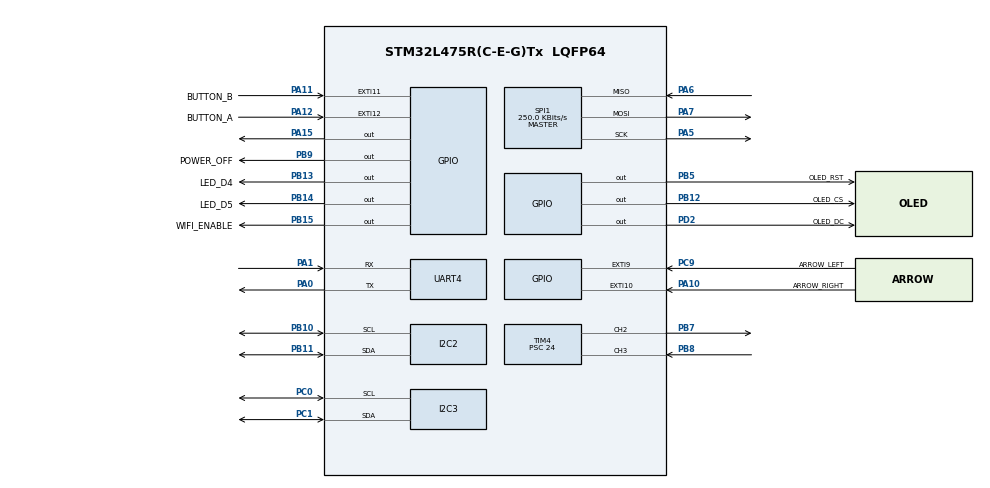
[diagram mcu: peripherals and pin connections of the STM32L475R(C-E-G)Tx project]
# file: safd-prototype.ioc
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Mcu.Family=STM32L4
Mcu.Name=STM32L475R(C-E-G)Tx
Mcu.Package=LQFP64
NVIC.EXTI15_10_IRQn=true\:0\:0\:false\:false\:true\:true
NVIC.EXTI9_5_IRQn=true\:0\:0\:false\:false\:true\:true
NVIC.PriorityGroup=NVIC_PRIORITYGROUP_4
NVIC.TIM3_IRQn=true\:0\:0\:false\:false\:true\:true
NVIC.UART4_IRQn=true\:0\:0\:false\:false\:true\:true
PA0.Mode=Asynchronous
PA0.Signal=UART4_TX
PA1.Mode=Asynchronous
PA1.Signal=UART4_RX
PA10.GPIO_Label=ARROW_RIGHT
PA10.Signal=GPXTI10
PA11.GPIO_Label=BUTTON_B
PA11.Signal=GPXTI11
PA12.GPIO_Label=BUTTON_A
PA12.Signal=GPXTI12
PA15\ (JTDI).Signal=GPIO_Output
PA5.Mode=Full_Duplex_Master
PA5.Signal=SPI1_SCK
PA6.Mode=Full_Duplex_Master
PA6.Signal=SPI1_MISO
PA7.Mode=Full_Duplex_Master
PA7.Signal=SPI1_MOSI
PB10.Mode=I2C
PB10.Signal=I2C2_SCL
PB11.Mode=I2C
PB11.Signal=I2C2_SDA
PB12.GPIO_Label=OLED_CS
PB12.Signal=GPIO_Output
PB13.GPIO_Label=LED_D4
PB13.Signal=GPIO_Output
PB14.GPIO_Label=LED_D5
PB14.Signal=GPIO_Output
PB15.GPIO_Label=WIFI_ENABLE
PB15.Signal=GPIO_Output
PB5.GPIO_Label=OLED_RST
PB5.Signal=GPIO_Output
PB7.Signal=S_TIM4_CH2
PB8.Signal=S_TIM4_CH3
PB9.GPIO_Label=POWER_OFF
PB9.Signal=GPIO_Output
PC0.Mode=I2C
PC0.Signal=I2C3_SCL
PC1.Mode=I2C
PC1.Signal=I2C3_SDA
PC9.GPIO_Label=ARROW_LEFT
PC9.Signal=GPXTI9
PD2.GPIO_Label=OLED_DC
PD2.Signal=GPIO_Output
ProjectManager.HeapSize=0x200
ProjectManager.StackSize=0x400
ProjectManager.TargetToolchain=SW4STM32
RCC.HSE_VALUE=8000000
RCC.HSI_VALUE=16000000
RCC.LSE_VALUE=32768
RCC.MSI_VALUE=4000000
RCC.VCOOutputFreq_Value=32000000
SH.S_TIM4_CH2.0=TIM4_CH2,PWM Generation2 CH2
SH.S_TIM4_CH3.0=TIM4_CH3,Input_Capture3_from_TI3
SPI1.BaudRatePrescaler=SPI_BAUDRATEPRESCALER_16
SPI1.CalculateBaudRate=250.0 KBits/s
SPI1.DataSize=SPI_DATASIZE_8BIT
SPI1.Direction=SPI_DIRECTION_2LINES
SPI1.Mode=SPI_MODE_MASTER
SPI1.VirtualType=VM_MASTER
TIM3.Period=47
TIM3.Prescaler=999
TIM4.Channel-Input_Capture3_from_TI3=TIM_CHANNEL_3
TIM4.Channel-PWM\ Generation2\ CH2=TIM_CHANNEL_2
TIM4.Period=200
TIM4.Prescaler=24
TIM4.Pulse-PWM\ Generation2\ CH2=3
UART4.WordLength=WORDLENGTH_8B
VP_TIM3_VS_ClockSourceINT.Mode=Internal
board=safd-prototype

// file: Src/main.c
/**
  ******************************************************************************
  * File Name          : main.c
  * Description        : Main program body
  ******************************************************************************
  ** This notice applies to any and all portions of this file
  * that are not between comment pairs USER CODE BEGIN and
  * USER CODE END. Other portions of this file, whether
  * inserted by the user or by software development tools
  * are owned by their respective copyright owners.
  *
  * COPYRIGHT(c) 2017 STMicroelectronics
  *
  * Redistribution and use in source and binary forms, with or without modification,
  * are permitted provided that the following conditions are met:
  *   1. Redistributions of source code must retain the above copyright notice,
  *      this list of conditions and the following disclaimer.
  *   2. Redistributions in binary form must reproduce the above copyright notice,
  *      this list of conditions and the following disclaimer in the documentation
  *      and/or other materials provided with the distribution.
  *   3. Neither the name of STMicroelectronics nor the names of its contributors
  *      may be used to endorse or promote products derived from this software
  *      without specific prior written permission.
  *
  * THIS SOFTWARE IS PROVIDED BY THE COPYRIGHT HOLDERS AND CONTRIBUTORS "AS IS"
  * AND ANY EXPRESS OR IMPLIED WARRANTIES, INCLUDING, BUT NOT LIMITED TO, THE
  * IMPLIED WARRANTIES OF MERCHANTABILITY AND FITNESS FOR A PARTICULAR PURPOSE ARE
  * DISCLAIMED. IN NO EVENT SHALL THE COPYRIGHT HOLDER OR CONTRIBUTORS BE LIABLE
  * FOR ANY DIRECT, INDIRECT, INCIDENTAL, SPECIAL, EXEMPLARY, OR CONSEQUENTIAL
  * DAMAGES (INCLUDING, BUT NOT LIMITED TO, PROCUREMENT OF SUBSTITUTE GOODS OR
  * SERVICES; LOSS OF USE, DATA, OR PROFITS; OR BUSINESS INTERRUPTION) HOWEVER
  * CAUSED AND ON ANY THEORY OF LIABILITY, WHETHER IN CONTRACT, STRICT LIABILITY,
  * OR TORT (INCLUDING NEGLIGENCE OR OTHERWISE) ARISING IN ANY WAY OUT OF THE USE
  * OF THIS SOFTWARE, EVEN IF ADVISED OF THE POSSIBILITY OF SUCH DAMAGE.
  *
  ******************************************************************************
  */

#include "main.h"
#include "stm32l4xx_hal.h"

/* USER CODE BEGIN Includes */
#include "ssd1306.h"
#include "ds2782.h"
#include "font7x10.h"
#include <string.h>
#include "beeper.h"

#include "lsm6ds3.h"
#include "buffer.h"
#include "fall_detection.h"
#include "util.h"
#include "user_interface.h"
#include "max17043.h"
//https://github.com/vadzimyatskevich/STM32F103_SSD1306 << OLED lib

/* USER CODE END Includes */

I2C_HandleTypeDef hi2c2;
I2C_HandleTypeDef hi2c3;

SPI_HandleTypeDef hspi1;

TIM_HandleTypeDef htim3;
TIM_HandleTypeDef htim4;

UART_HandleTypeDef huart4;

/* USER CODE BEGIN PV */
/* Private variables ---------------------------------------------------------*/
uint8_t rx_buffer[10];

triple_ring_buffer linear_acceleration_buffer; //
triple_ring_buffer angular_velocity_buffer_sternum;  //
triple_ring_buffer angular_velocity_buffer_waist;  //

triplet angle_i;
triplet angular_velocity_i; //Might not need this if we don't use angular acceleration

frame frame_lookup[10];
uint8_t arm_status;//arm = 1 unarmed = 0
uint8_t arrow_left_pressed;
uint8_t arrow_right_pressed;
uint8_t button_a_pressed;
uint8_t button_b_pressed;
extern int current_frame_index;
extern frame frame_lookup[10];
extern ARM_Status arm_flag;

float batt_voltage;
int batt_percentage;

/* USER CODE END PV */

void SystemClock_Config(void);
static void MX_GPIO_Init(void);
static void MX_TIM3_Init(void);
static void MX_SPI1_Init(void);
static void MX_I2C3_Init(void);
static void MX_UART4_Init(void);
static void MX_I2C2_Init(void);
static void MX_TIM4_Init(void);

void HAL_TIM_MspPostInit(TIM_HandleTypeDef *htim);

/* USER CODE BEGIN PFP */
/* Private function prototypes -----------------------------------------------*/

/* USER CODE END PFP */

int main(void)
{

  /* MCU Configuration----------------------------------------------------------*/

  /* Reset of all peripherals, Initializes the Flash interface and the Systick. */
  HAL_Init();

  /* Configure the system clock */
  SystemClock_Config();

  /* Initialize all configured peripherals */
  MX_GPIO_Init();
  MX_TIM3_Init();
  MX_SPI1_Init();
  MX_I2C3_Init();
  MX_UART4_Init();
  MX_I2C2_Init();
  MX_TIM4_Init();

  /* USER CODE BEGIN 2 */
  /*UI Init*/
  SSD1306_Init();
  init_userinterface();
  batt_percentage = getSOC(&hi2c2);

  /*Fall detection Init*/
  triplet gyro_reading1;
  triplet gyro_reading2;
  angular_velocity_i.x = 0;
  angular_velocity_i.y = 0;
  angular_velocity_i.z = 0;

  volatile int detection_result_waist=0;
  volatile int detection_result_sternum=0;

  arm_flag = SYSTEM_UNARMED;

  LSM6DS3_StatusTypedef gyro1_init_status,gyro2_init_status;

  //sensor 2 = onboard sensor 1 = external
  gyro1_init_status = init_gyroscope(&hi2c3,SENSOR_1,dps_250,rate416hz);
  gyro2_init_status = init_gyroscope(&hi2c3,SENSOR_2,dps_250,rate416hz);

  if(gyro1_init_status != LSM6DS3_OK)
  {
	  SSD1306_Flush();

	  SSD1306_Orientation(LCD_ORIENT_180);

	  SSD1306_Contrast(127);
	  SSD1306_Fill(0x00);
	  LCD_PutStr(0,23,"Sensor(s)",fnt7x10);
	  LCD_PutStr(0,scr_height - 15,"not found!",fnt7x10);
	  SSD1306_Flush();
	  _Error_Handler(__FILE__, __LINE__);
  }

  if(gyro2_init_status != LSM6DS3_OK)
  {
	  SSD1306_Flush();

	  SSD1306_Orientation(LCD_ORIENT_180);

	  SSD1306_Contrast(127);
	  SSD1306_Fill(0x00);
	  LCD_PutStr(0,23,"Sensor(s)",fnt7x10);
	  LCD_PutStr(0,scr_height - 15,"not found!",fnt7x10);
	  SSD1306_Flush();
	  _Error_Handler(__FILE__, __LINE__);
  }

  //this has to be the very last thing
  HAL_TIM_Base_Start_IT(&htim3);
  HAL_TIM_Base_Start_IT(&htim4);
  //HAL_TIM_PWM_Start(&htim4, TIM_CHANNEL_2);
  HAL_TIM_IC_Start(&htim4, TIM_CHANNEL_3);
  /* USER CODE END 2 */

  /* Infinite loop */
  while (1)
  {

  /* USER CODE BEGIN 3 */
	  /*UI nav*/
	  if(arrow_left_pressed == 1)
	  {
		  to_prev();
		  arrow_left_pressed = 0;
		  HAL_TIM_PeriodBeeper(&htim4,2);

	  }
	  if(arrow_right_pressed == 1)
	  {
		  to_next();
		  arrow_right_pressed = 0;
		  HAL_TIM_PeriodBeeper(&htim4,2);

	  }
	  if(button_a_pressed == 1)
	  {
		  frame_lookup[current_frame_index].a_action();
		  button_a_pressed = 0;
		  HAL_TIM_PeriodBeeper(&htim4,2);

	  }
	  if(button_b_pressed == 1)
	  {
		  frame_lookup[current_frame_index].b_action();
		  button_b_pressed = 0;
		  HAL_TIM_PeriodBeeper(&htim4,2);
	  }

	  /*active poll*/
	  if(arm_flag == SYSTEM_ARMED)
	  {
		  if(peek(&angular_velocity_buffer_sternum) == BUFFER_AVAILABLE && peek(&angular_velocity_buffer_waist) == BUFFER_AVAILABLE)
		  {
			  fetch(&angular_velocity_buffer_sternum, &gyro_reading1);
			  fetch(&angular_velocity_buffer_waist, &gyro_reading2);

			  detection_result_sternum = detection_angular_velocity_sternum(gyro_reading1);
			  detection_result_waist = detection_angular_velocity_waist(gyro_reading2);
	  		  if(detection_result_sternum == EXCEED)
	  		  {
	  			  HAL_GPIO_WritePin(LED_D4_PORT, LED_D4_PIN, GPIO_PIN_SET);
	  		  }
	  		  if(detection_result_waist == EXCEED)
	  		  {
	  			  HAL_GPIO_WritePin(LED_D5_PORT, LED_D5_PIN, GPIO_PIN_SET);
	  		  }
	  		  if(detection_result_waist == EXCEED && detection_result_sternum == EXCEED)
	  		  {
				  HAL_GPIO_WritePin(GPIOB,GPIO_PIN_13,GPIO_PIN_SET);
				  HAL_GPIO_WritePin(GPIOA, GPIO_PIN_15,GPIO_PIN_SET);
				  HAL_Delay(2000);
				  HAL_GPIO_WritePin(GPIOA, GPIO_PIN_15,GPIO_PIN_RESET);
				  HAL_GPIO_WritePin(GPIOB,GPIO_PIN_13,GPIO_PIN_RESET);
				  /*
	  			  HAL_TIM_PWM_Start(&htim4, TIM_CHANNEL_2);
	  			  HAL_Delay(3000);
	  			  HAL_TIM_PWM_Stop(&htim4, TIM_CHANNEL_2);
				  */

	  		  }
/*
			  if(detection_result_sternum == EXCEED && detection_result_waist == EXCEED)
			  {
				  HAL_GPIO_WritePin(GPIOB,GPIO_PIN_13,GPIO_PIN_SET);
				  HAL_GPIO_WritePin(GPIOA, GPIO_PIN_15,GPIO_PIN_SET);
				  HAL_Delay(2000);
				  HAL_GPIO_WritePin(GPIOA, GPIO_PIN_15,GPIO_PIN_RESET);
				  HAL_GPIO_WritePin(GPIOB,GPIO_PIN_13,GPIO_PIN_RESET);

			  }
			  */
			  //decide what to do if detected?
		  }
	  }
	  if(batt_percentage <= 20){
		  HAL_TIM_PeriodBeeper(&htim4,4);
	  }

  }
  /* USER CODE END 3 */

}

/** System Clock Configuration
*/
void SystemClock_Config(void)
{

  RCC_OscInitTypeDef RCC_OscInitStruct;
  RCC_ClkInitTypeDef RCC_ClkInitStruct;
  RCC_PeriphCLKInitTypeDef PeriphClkInit;

    /**Initializes the CPU, AHB and APB busses clocks
    */
  RCC_OscInitStruct.OscillatorType = RCC_OSCILLATORTYPE_MSI;
  RCC_OscInitStruct.MSIState = RCC_MSI_ON;
  RCC_OscInitStruct.MSICalibrationValue = 0;
  RCC_OscInitStruct.MSIClockRange = RCC_MSIRANGE_6;
  RCC_OscInitStruct.PLL.PLLState = RCC_PLL_NONE;
  if (HAL_RCC_OscConfig(&RCC_OscInitStruct) != HAL_OK)
  {
    _Error_Handler(__FILE__, __LINE__);
  }

    /**Initializes the CPU, AHB and APB busses clocks
    */
  RCC_ClkInitStruct.ClockType = RCC_CLOCKTYPE_HCLK|RCC_CLOCKTYPE_SYSCLK
                              |RCC_CLOCKTYPE_PCLK1|RCC_CLOCKTYPE_PCLK2;
  RCC_ClkInitStruct.SYSCLKSource = RCC_SYSCLKSOURCE_MSI;
  RCC_ClkInitStruct.AHBCLKDivider = RCC_SYSCLK_DIV1;
  RCC_ClkInitStruct.APB1CLKDivider = RCC_HCLK_DIV1;
  RCC_ClkInitStruct.APB2CLKDivider = RCC_HCLK_DIV1;

  if (HAL_RCC_ClockConfig(&RCC_ClkInitStruct, FLASH_LATENCY_0) != HAL_OK)
  {
    _Error_Handler(__FILE__, __LINE__);
  }

  PeriphClkInit.PeriphClockSelection = RCC_PERIPHCLK_UART4|RCC_PERIPHCLK_I2C2
                              |RCC_PERIPHCLK_I2C3;
  PeriphClkInit.Uart4ClockSelection = RCC_UART4CLKSOURCE_PCLK1;
  PeriphClkInit.I2c2ClockSelection = RCC_I2C2CLKSOURCE_PCLK1;
  PeriphClkInit.I2c3ClockSelection = RCC_I2C3CLKSOURCE_PCLK1;
  if (HAL_RCCEx_PeriphCLKConfig(&PeriphClkInit) != HAL_OK)
  {
    _Error_Handler(__FILE__, __LINE__);
  }

    /**Configure the main internal regulator output voltage
    */
  if (HAL_PWREx_ControlVoltageScaling(PWR_REGULATOR_VOLTAGE_SCALE1) != HAL_OK)
  {
    _Error_Handler(__FILE__, __LINE__);
  }

    /**Configure the Systick interrupt time
    */
  HAL_SYSTICK_Config(HAL_RCC_GetHCLKFreq()/1000);

    /**Configure the Systick
    */
  HAL_SYSTICK_CLKSourceConfig(SYSTICK_CLKSOURCE_HCLK);

  /* SysTick_IRQn interrupt configuration */
  HAL_NVIC_SetPriority(SysTick_IRQn, 0, 0);
}

/* I2C2 init function */
static void MX_I2C2_Init(void)
{

  hi2c2.Instance = I2C2;
  hi2c2.Init.Timing = 0x00000E14;
  hi2c2.Init.OwnAddress1 = 0;
  hi2c2.Init.AddressingMode = I2C_ADDRESSINGMODE_7BIT;
  hi2c2.Init.DualAddressMode = I2C_DUALADDRESS_DISABLE;
  hi2c2.Init.OwnAddress2 = 0;
  hi2c2.Init.OwnAddress2Masks = I2C_OA2_NOMASK;
  hi2c2.Init.GeneralCallMode = I2C_GENERALCALL_DISABLE;
  hi2c2.Init.NoStretchMode = I2C_NOSTRETCH_DISABLE;
  if (HAL_I2C_Init(&hi2c2) != HAL_OK)
  {
    _Error_Handler(__FILE__, __LINE__);
  }

    /**Configure Analogue filter
    */
  if (HAL_I2CEx_ConfigAnalogFilter(&hi2c2, I2C_ANALOGFILTER_ENABLE) != HAL_OK)
  {
    _Error_Handler(__FILE__, __LINE__);
  }

    /**Configure Digital filter
    */
  if (HAL_I2CEx_ConfigDigitalFilter(&hi2c2, 0) != HAL_OK)
  {
    _Error_Handler(__FILE__, __LINE__);
  }

}

/* I2C3 init function */
static void MX_I2C3_Init(void)
{

  hi2c3.Instance = I2C3;
  hi2c3.Init.Timing = 0x00000E14;
  hi2c3.Init.OwnAddress1 = 0;
  hi2c3.Init.AddressingMode = I2C_ADDRESSINGMODE_7BIT;
  hi2c3.Init.DualAddressMode = I2C_DUALADDRESS_DISABLE;
  hi2c3.Init.OwnAddress2 = 0;
  hi2c3.Init.OwnAddress2Masks = I2C_OA2_NOMASK;
  hi2c3.Init.GeneralCallMode = I2C_GENERALCALL_DISABLE;
  hi2c3.Init.NoStretchMode = I2C_NOSTRETCH_DISABLE;
  if (HAL_I2C_Init(&hi2c3) != HAL_OK)
  {
    _Error_Handler(__FILE__, __LINE__);
  }

    /**Configure Analogue filter
    */
  if (HAL_I2CEx_ConfigAnalogFilter(&hi2c3, I2C_ANALOGFILTER_ENABLE) != HAL_OK)
  {
    _Error_Handler(__FILE__, __LINE__);
  }

    /**Configure Digital filter
    */
  if (HAL_I2CEx_ConfigDigitalFilter(&hi2c3, 0) != HAL_OK)
  {
    _Error_Handler(__FILE__, __LINE__);
  }

}

/* SPI1 init function */
static void MX_SPI1_Init(void)
{

  /* SPI1 parameter configuration*/
  hspi1.Instance = SPI1;
  hspi1.Init.Mode = SPI_MODE_MASTER;
  hspi1.Init.Direction = SPI_DIRECTION_2LINES;
  hspi1.Init.DataSize = SPI_DATASIZE_8BIT;
  hspi1.Init.CLKPolarity = SPI_POLARITY_LOW;
  hspi1.Init.CLKPhase = SPI_PHASE_1EDGE;
  hspi1.Init.NSS = SPI_NSS_SOFT;
  hspi1.Init.BaudRatePrescaler = SPI_BAUDRATEPRESCALER_16;
  hspi1.Init.FirstBit = SPI_FIRSTBIT_MSB;
  hspi1.Init.TIMode = SPI_TIMODE_DISABLE;
  hspi1.Init.CRCCalculation = SPI_CRCCALCULATION_DISABLE;
  hspi1.Init.CRCPolynomial = 7;
  hspi1.Init.CRCLength = SPI_CRC_LENGTH_DATASIZE;
  hspi1.Init.NSSPMode = SPI_NSS_PULSE_ENABLE;
  if (HAL_SPI_Init(&hspi1) != HAL_OK)
  {
    _Error_Handler(__FILE__, __LINE__);
  }

}

/* TIM3 init function */
static void MX_TIM3_Init(void)
{

  TIM_ClockConfigTypeDef sClockSourceConfig;
  TIM_MasterConfigTypeDef sMasterConfig;

  htim3.Instance = TIM3;
  htim3.Init.Prescaler = 999;
  htim3.Init.CounterMode = TIM_COUNTERMODE_UP;
  htim3.Init.Period = 47;
  htim3.Init.ClockDivision = TIM_CLOCKDIVISION_DIV1;
  htim3.Init.AutoReloadPreload = TIM_AUTORELOAD_PRELOAD_DISABLE;
  if (HAL_TIM_Base_Init(&htim3) != HAL_OK)
  {
    _Error_Handler(__FILE__, __LINE__);
  }

  sClockSourceConfig.ClockSource = TIM_CLOCKSOURCE_INTERNAL;
  if (HAL_TIM_ConfigClockSource(&htim3, &sClockSourceConfig) != HAL_OK)
  {
    _Error_Handler(__FILE__, __LINE__);
  }

  sMasterConfig.MasterOutputTrigger = TIM_TRGO_RESET;
  sMasterConfig.MasterSlaveMode = TIM_MASTERSLAVEMODE_DISABLE;
  if (HAL_TIMEx_MasterConfigSynchronization(&htim3, &sMasterConfig) != HAL_OK)
  {
    _Error_Handler(__FILE__, __LINE__);
  }

}

/* TIM4 init function */
static void MX_TIM4_Init(void)
{

  TIM_MasterConfigTypeDef sMasterConfig;
  TIM_OC_InitTypeDef sConfigOC;
  TIM_IC_InitTypeDef sConfigIC;

  htim4.Instance = TIM4;
  htim4.Init.Prescaler = 24;
  htim4.Init.CounterMode = TIM_COUNTERMODE_UP;
  htim4.Init.Period = 200;
  htim4.Init.ClockDivision = TIM_CLOCKDIVISION_DIV1;
  htim4.Init.AutoReloadPreload = TIM_AUTORELOAD_PRELOAD_DISABLE;
  if (HAL_TIM_PWM_Init(&htim4) != HAL_OK)
  {
    _Error_Handler(__FILE__, __LINE__);
  }

  if (HAL_TIM_IC_Init(&htim4) != HAL_OK)
  {
    _Error_Handler(__FILE__, __LINE__);
  }

  sMasterConfig.MasterOutputTrigger = TIM_TRGO_RESET;
  sMasterConfig.MasterSlaveMode = TIM_MASTERSLAVEMODE_DISABLE;
  if (HAL_TIMEx_MasterConfigSynchronization(&htim4, &sMasterConfig) != HAL_OK)
  {
    _Error_Handler(__FILE__, __LINE__);
  }

  sConfigOC.OCMode = TIM_OCMODE_PWM1;
  sConfigOC.Pulse = 3;
  sConfigOC.OCPolarity = TIM_OCPOLARITY_HIGH;
  sConfigOC.OCFastMode = TIM_OCFAST_DISABLE;
  if (HAL_TIM_PWM_ConfigChannel(&htim4, &sConfigOC, TIM_CHANNEL_2) != HAL_OK)
  {
    _Error_Handler(__FILE__, __LINE__);
  }

  sConfigIC.ICPolarity = TIM_INPUTCHANNELPOLARITY_RISING;
  sConfigIC.ICSelection = TIM_ICSELECTION_DIRECTTI;
  sConfigIC.ICPrescaler = TIM_ICPSC_DIV1;
  sConfigIC.ICFilter = 0;
  if (HAL_TIM_IC_ConfigChannel(&htim4, &sConfigIC, TIM_CHANNEL_3) != HAL_OK)
  {
    _Error_Handler(__FILE__, __LINE__);
  }

  HAL_TIM_MspPostInit(&htim4);

}

/* UART4 init function */
static void MX_UART4_Init(void)
{

  huart4.Instance = UART4;
  huart4.Init.BaudRate = 115200;
  huart4.Init.WordLength = UART_WORDLENGTH_8B;
  huart4.Init.StopBits = UART_STOPBITS_1;
  huart4.Init.Parity = UART_PARITY_NONE;
  huart4.Init.Mode = UART_MODE_TX_RX;
  huart4.Init.HwFlowCtl = UART_HWCONTROL_NONE;
  huart4.Init.OverSampling = UART_OVERSAMPLING_16;
  huart4.Init.OneBitSampling = UART_ONE_BIT_SAMPLE_DISABLE;
  huart4.AdvancedInit.AdvFeatureInit = UART_ADVFEATURE_NO_INIT;
  if (HAL_UART_Init(&huart4) != HAL_OK)
  {
    _Error_Handler(__FILE__, __LINE__);
  }

}

/** Configure pins as
        * Analog
        * Input
        * Output
        * EVENT_OUT
        * EXTI
*/
static void MX_GPIO_Init(void)
{

  GPIO_InitTypeDef GPIO_InitStruct;

  /* GPIO Ports Clock Enable */
  __HAL_RCC_GPIOC_CLK_ENABLE();
  __HAL_RCC_GPIOA_CLK_ENABLE();
  __HAL_RCC_GPIOB_CLK_ENABLE();
  __HAL_RCC_GPIOD_CLK_ENABLE();

  /*Configure GPIO pin Output Level */
  HAL_GPIO_WritePin(GPIOB, OLED_CS_Pin|LED_D4_Pin|LED_D5_Pin|WIFI_ENABLE_Pin
                          |OLED_RST_Pin|POWER_OFF_Pin, GPIO_PIN_RESET);

  /*Configure GPIO pin Output Level */
  HAL_GPIO_WritePin(GPIOA, GPIO_PIN_15, GPIO_PIN_RESET);

  /*Configure GPIO pin Output Level */
  HAL_GPIO_WritePin(OLED_DC_GPIO_Port, OLED_DC_Pin, GPIO_PIN_RESET);

  /*Configure GPIO pins : OLED_CS_Pin LED_D4_Pin LED_D5_Pin WIFI_ENABLE_Pin
                           OLED_RST_Pin POWER_OFF_Pin */
  GPIO_InitStruct.Pin = OLED_CS_Pin|LED_D4_Pin|LED_D5_Pin|WIFI_ENABLE_Pin
                          |OLED_RST_Pin|POWER_OFF_Pin;
  GPIO_InitStruct.Mode = GPIO_MODE_OUTPUT_PP;
  GPIO_InitStruct.Pull = GPIO_NOPULL;
  GPIO_InitStruct.Speed = GPIO_SPEED_FREQ_LOW;
  HAL_GPIO_Init(GPIOB, &GPIO_InitStruct);

  /*Configure GPIO pin : ARROW_LEFT_Pin */
  GPIO_InitStruct.Pin = ARROW_LEFT_Pin;
  GPIO_InitStruct.Mode = GPIO_MODE_IT_RISING;
  GPIO_InitStruct.Pull = GPIO_NOPULL;
  HAL_GPIO_Init(ARROW_LEFT_GPIO_Port, &GPIO_InitStruct);

  /*Configure GPIO pins : ARROW_RIGHT_Pin BUTTON_B_Pin BUTTON_A_Pin */
  GPIO_InitStruct.Pin = ARROW_RIGHT_Pin|BUTTON_B_Pin|BUTTON_A_Pin;
  GPIO_InitStruct.Mode = GPIO_MODE_IT_RISING;
  GPIO_InitStruct.Pull = GPIO_NOPULL;
  HAL_GPIO_Init(GPIOA, &GPIO_InitStruct);

  /*Configure GPIO pin : PA15 */
  GPIO_InitStruct.Pin = GPIO_PIN_15;
  GPIO_InitStruct.Mode = GPIO_MODE_OUTPUT_PP;
  GPIO_InitStruct.Pull = GPIO_NOPULL;
  GPIO_InitStruct.Speed = GPIO_SPEED_FREQ_LOW;
  HAL_GPIO_Init(GPIOA, &GPIO_InitStruct);

  /*Configure GPIO pin : OLED_DC_Pin */
  GPIO_InitStruct.Pin = OLED_DC_Pin;
  GPIO_InitStruct.Mode = GPIO_MODE_OUTPUT_PP;
  GPIO_InitStruct.Pull = GPIO_NOPULL;
  GPIO_InitStruct.Speed = GPIO_SPEED_FREQ_LOW;
  HAL_GPIO_Init(OLED_DC_GPIO_Port, &GPIO_InitStruct);

  /* EXTI interrupt init*/
  HAL_NVIC_SetPriority(EXTI9_5_IRQn, 0, 0);
  HAL_NVIC_EnableIRQ(EXTI9_5_IRQn);

  HAL_NVIC_SetPriority(EXTI15_10_IRQn, 0, 0);
  HAL_NVIC_EnableIRQ(EXTI15_10_IRQn);

}

void _Error_Handler(char * file, int line)
{
  while(1)
  {
  }
}

/************************ (C) COPYRIGHT STMicroelectronics *****END OF FILE****/
